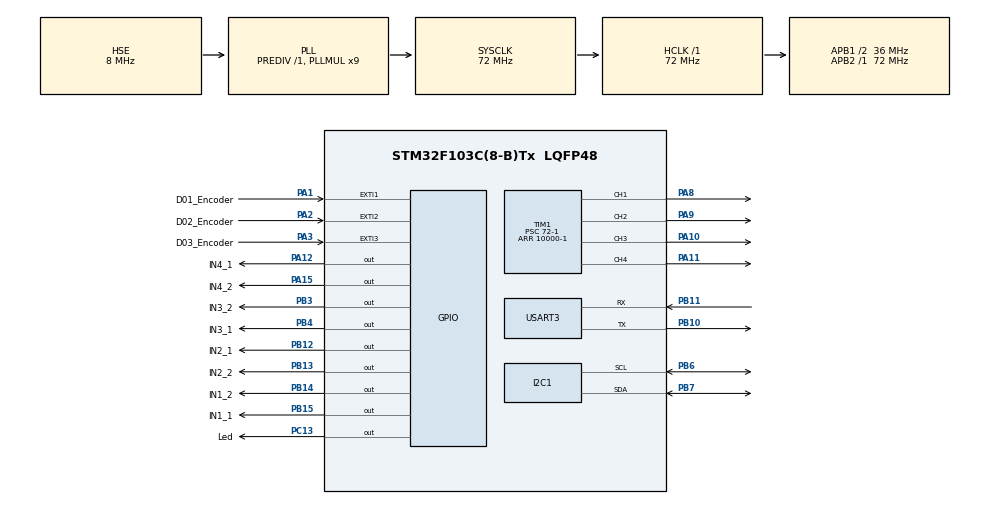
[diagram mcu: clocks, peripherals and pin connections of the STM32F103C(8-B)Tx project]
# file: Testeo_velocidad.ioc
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FREERTOS.BinarySemaphores01=SpeedSemaphore,Dynamic,NULL
FREERTOS.Tasks01=Speed,40,256,StartSpeed,Default,NULL,Dynamic,NULL,NULL;Modbus,40,256,StartModbus,Default,NULL,Dynamic,NULL,NULL;CheckVelocidad,32,256,StartCheckVelocidad,Default,NULL,Dynamic,NULL,NULL;TaskControl,48,256,StartTaskControl,Default,NULL,Dynamic,NULL,NULL
FREERTOS.configLIBRARY_LOWEST_INTERRUPT_PRIORITY=10
FREERTOS.configTOTAL_HEAP_SIZE=6144
FREERTOS.configUSE_NEWLIB_REENTRANT=1
Mcu.Family=STM32F1
Mcu.Name=STM32F103C(8-B)Tx
Mcu.Package=LQFP48
NVIC.EXTI1_IRQn=true\:5\:0\:true\:false\:true\:true\:true\:true
NVIC.EXTI2_IRQn=true\:5\:0\:false\:false\:true\:true\:true\:true
NVIC.I2C1_EV_IRQn=true\:5\:0\:false\:false\:true\:true\:true\:true
NVIC.PriorityGroup=NVIC_PRIORITYGROUP_4
NVIC.TIM2_IRQn=true\:5\:0\:false\:false\:true\:true\:true\:true
NVIC.TIM4_IRQn=true\:15\:0\:false\:false\:true\:false\:false\:true
NVIC.TimeBase=TIM4_IRQn
NVIC.TimeBaseIP=TIM4
NVIC.USART3_IRQn=true\:5\:0\:false\:false\:true\:true\:true\:true
PA1.GPIO_Label=D01_Encoder
PA1.GPIO_PuPd=GPIO_PULLDOWN
PA1.Signal=GPXTI1
PA10.Signal=S_TIM1_CH3
PA11.Signal=S_TIM1_CH4
PA12.GPIO_Label=IN4_1
PA12.Signal=GPIO_Output
PA13.Mode=Serial_Wire
PA13.Signal=SYS_JTMS-SWDIO
PA14.Mode=Serial_Wire
PA14.Signal=SYS_JTCK-SWCLK
PA15.GPIO_Label=IN4_2
PA15.Signal=GPIO_Output
PA2.GPIO_Label=D02_Encoder
PA2.Signal=GPXTI2
PA3.GPIO_Label=D03_Encoder
PA3.Signal=GPXTI3
PA8.Signal=S_TIM1_CH1
PA9.Signal=S_TIM1_CH2
PB10.Mode=Asynchronous
PB10.Signal=USART3_TX
PB11.Mode=Asynchronous
PB11.Signal=USART3_RX
PB12.GPIO_Label=IN2_1
PB12.Signal=GPIO_Output
PB13.GPIO_Label=IN2_2
PB13.Signal=GPIO_Output
PB14.GPIO_Label=IN1_2
PB14.Signal=GPIO_Output
PB15.GPIO_Label=IN1_1
PB15.Signal=GPIO_Output
PB3.GPIO_Label=IN3_2
PB3.Signal=GPIO_Output
PB4.GPIO_Label=IN3_1
PB4.Signal=GPIO_Output
PB6.Mode=I2C
PB6.Signal=I2C1_SCL
PB7.Mode=I2C
PB7.Signal=I2C1_SDA
PC13-TAMPER-RTC.GPIO_Label=Led
PC13-TAMPER-RTC.Signal=GPIO_Output
PD0-OSC_IN.Mode=HSE-External-Oscillator
PD0-OSC_IN.Signal=RCC_OSC_IN
PD1-OSC_OUT.Mode=HSE-External-Oscillator
PD1-OSC_OUT.Signal=RCC_OSC_OUT
ProjectManager.HeapSize=0x200
ProjectManager.StackSize=0x400
ProjectManager.TargetToolchain=STM32CubeIDE
RCC.AHBFreq_Value=72000000
RCC.APB1CLKDivider=RCC_HCLK_DIV2
RCC.APB1Freq_Value=36000000
RCC.APB1TimFreq_Value=72000000
RCC.APB2Freq_Value=72000000
RCC.APB2TimFreq_Value=72000000
RCC.HCLKFreq_Value=72000000
RCC.PLLMUL=RCC_PLL_MUL9
RCC.PLLSourceVirtual=RCC_PLLSOURCE_HSE
RCC.SYSCLKFreq_VALUE=72000000
RCC.SYSCLKSource=RCC_SYSCLKSOURCE_PLLCLK
RCC.USBFreq_Value=72000000
SH.S_TIM1_CH1.0=TIM1_CH1,PWM Generation1 CH1
SH.S_TIM1_CH2.0=TIM1_CH2,PWM Generation2 CH2
SH.S_TIM1_CH3.0=TIM1_CH3,PWM Generation3 CH3
SH.S_TIM1_CH4.0=TIM1_CH4,PWM Generation4 CH4
TIM1.AutoReloadPreload=TIM_AUTORELOAD_PRELOAD_ENABLE
TIM1.Channel-PWM\ Generation1\ CH1=TIM_CHANNEL_1
TIM1.Channel-PWM\ Generation2\ CH2=TIM_CHANNEL_2
TIM1.Channel-PWM\ Generation3\ CH3=TIM_CHANNEL_3
TIM1.Channel-PWM\ Generation4\ CH4=TIM_CHANNEL_4
TIM1.Period=10000-1
TIM1.Prescaler=72-1
TIM2.AutoReloadPreload=TIM_AUTORELOAD_PRELOAD_ENABLE
TIM2.Period=20000-1
TIM2.Prescaler=1440-1
USART3.VirtualMode=VM_ASYNC
VP_FREERTOS_VS_CMSIS_V2.Mode=CMSIS_V2
VP_SYS_VS_tim4.Mode=TIM4
VP_TIM1_VS_ClockSourceINT.Mode=Internal
VP_TIM2_VS_ClockSourceINT.Mode=Internal
board=custom

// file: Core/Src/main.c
/* USER CODE BEGIN Header */
/**
 ******************************************************************************
 * @file           : main.c
 * @brief          : Main program body
 ******************************************************************************
 * @attention
 *
 * Copyright (c) 2022 STMicroelectronics.
 * All rights reserved.
 *
 * This software is licensed under terms that can be found in the LICENSE file
 * in the root directory of this software component.
 * If no LICENSE file comes with this software, it is provided AS-IS.
 *
 ******************************************************************************
 */
/* USER CODE END Header */
#include "main.h"
#include "cmsis_os.h"

/* USER CODE BEGIN Includes */
#include "string.h"
#include "stdio.h"
#include "stdlib.h"

#include "Modbus.h"
#include "ModbusConfig.h"

#include "Linealizacion.c"
#include "Linealizacion.h"

#include "control.c"
#include "control.h"

//#include "INA219.h"
/* USER CODE END Includes */

I2C_HandleTypeDef hi2c1;

TIM_HandleTypeDef htim1;
TIM_HandleTypeDef htim2;

UART_HandleTypeDef huart3;

/* Definitions for Speed */
osThreadId_t SpeedHandle;
const osThreadAttr_t Speed_attributes = {
		.name = "Speed",
		.stack_size = 256 * 4,
		.priority = (osPriority_t) osPriorityHigh,
};
/* Definitions for Modbus */
osThreadId_t ModbusHandle;
const osThreadAttr_t Modbus_attributes = {
		.name = "Modbus",
		.stack_size = 256 * 4,
		.priority = (osPriority_t) osPriorityHigh,
};
/* Definitions for CheckVelocidad */
osThreadId_t CheckVelocidadHandle;
const osThreadAttr_t CheckVelocidad_attributes = {
		.name = "CheckVelocidad",
		.stack_size = 256 * 4,
		.priority = (osPriority_t) osPriorityAboveNormal,
};
/* Definitions for TaskControl */
osThreadId_t TaskControlHandle;
const osThreadAttr_t TaskControl_attributes = {
		.name = "TaskControl",
		.stack_size = 256 * 4,
		.priority = (osPriority_t) osPriorityRealtime,
};
/* Definitions for SpeedSemaphore */
osSemaphoreId_t SpeedSemaphoreHandle;
const osSemaphoreAttr_t SpeedSemaphore_attributes = {
		.name = "SpeedSemaphore"
};
/* USER CODE BEGIN PV */

//INA219_t ina219;

/* USER CODE END PV */

void SystemClock_Config(void);
static void MX_GPIO_Init(void);
static void MX_TIM2_Init(void);
static void MX_TIM1_Init(void);
static void MX_USART3_UART_Init(void);
static void MX_I2C1_Init(void);
void StartSpeed(void *argument);
void StartModbus(void *argument);
void StartCheckVelocidad(void *argument);
void StartTaskControl(void *argument);

/* USER CODE BEGIN 0 */

//---------------->  Modbus
modbusHandler_t ModbusH;
uint16_t ModbusDATA[32]={0,0,0,0,0,0,0,0,0,'\0'}; // Mapa modbus!
//---------------->

float velocidad = 0;
float velocidad_prima1,velocidad_prima2;

uint32_t ticksPrev = 0;
uint32_t ticksNow = 0;
uint32_t ticksAux = 0;
uint32_t deltaTicks = 0;

uint16_t overflow = 0; // Cantidad de desbordes del timer

void HAL_GPIO_EXTI_Callback (uint16_t GPIO_Pin){
	if (GPIO_Pin == D01_Encoder_Pin){
		ticksAux = ticksPrev;
		ticksPrev = ticksNow;
		ticksNow = __HAL_TIM_GetCounter(&htim2);
		osSemaphoreRelease(SpeedSemaphoreHandle);
	}

}
/* USER CODE END 0 */

int main(void)
{

	/* MCU Configuration--------------------------------------------------------*/

	/* Reset of all peripherals, Initializes the Flash interface and the Systick. */
	HAL_Init();

	/* Configure the system clock */
	SystemClock_Config();

	/* Initialize all configured peripherals */
	MX_GPIO_Init();
	MX_TIM2_Init();
	MX_TIM1_Init();
	MX_USART3_UART_Init();
	MX_I2C1_Init();
	/* USER CODE BEGIN 2 */
	HAL_TIM_Base_Start_IT(&htim2);
	Linealizacion_initialize();
	control_initialize();

	// Definiciones para la biblioteca de modbus
	ModbusH.uModbusType = MB_SLAVE;
	ModbusH.port =  &huart3;
	ModbusH.u8id = 1; //Modbus slave ID
	ModbusH.u16timeOut = 1000;
	ModbusH.EN_Port = NULL;
	ModbusH.u16regs = ModbusDATA;
	ModbusH.u16regsize= sizeof(ModbusDATA)/sizeof(ModbusDATA[0]);
	ModbusH.xTypeHW = USART_HW;

	//Initialize Modbus library
	ModbusInit(&ModbusH);
	//Start capturing traffic on serial Port
	ModbusStart(&ModbusH);

	HAL_TIM_PWM_Start(&htim1, TIM_CHANNEL_1);
	HAL_TIM_PWM_Start(&htim1, TIM_CHANNEL_2);
	HAL_TIM_PWM_Start(&htim1, TIM_CHANNEL_3);
	HAL_TIM_PWM_Start(&htim1, TIM_CHANNEL_4);
	//  	HAL_UART_Transmit(&huart3, (uint8_t*)"V\n", 3*sizeof(char), HAL_MAX_DELAY);

	/* USER CODE END 2 */

	/* Init scheduler */
	osKernelInitialize();

	/* Create the semaphores(s) */
	/* creation of SpeedSemaphore */
	SpeedSemaphoreHandle = osSemaphoreNew(1, 1, &SpeedSemaphore_attributes);

	/* Create the thread(s) */
	/* creation of Speed */
	SpeedHandle = osThreadNew(StartSpeed, NULL, &Speed_attributes);

	/* creation of Modbus */
	ModbusHandle = osThreadNew(StartModbus, NULL, &Modbus_attributes);

	/* creation of CheckVelocidad */
	CheckVelocidadHandle = osThreadNew(StartCheckVelocidad, NULL, &CheckVelocidad_attributes);

	/* creation of TaskControl */
	TaskControlHandle = osThreadNew(StartTaskControl, NULL, &TaskControl_attributes);

	/* Start scheduler */
	osKernelStart();

	/* We should never get here as control is now taken by the scheduler */
	/* Infinite loop */
	while (1)
	{

	}
}

void SystemClock_Config(void)
{
	RCC_OscInitTypeDef RCC_OscInitStruct = {0};
	RCC_ClkInitTypeDef RCC_ClkInitStruct = {0};

	/** Initializes the RCC Oscillators according to the specified parameters
	 * in the RCC_OscInitTypeDef structure.
	 */
	RCC_OscInitStruct.OscillatorType = RCC_OSCILLATORTYPE_HSE;
	RCC_OscInitStruct.HSEState = RCC_HSE_ON;
	RCC_OscInitStruct.HSEPredivValue = RCC_HSE_PREDIV_DIV1;
	RCC_OscInitStruct.HSIState = RCC_HSI_ON;
	RCC_OscInitStruct.PLL.PLLState = RCC_PLL_ON;
	RCC_OscInitStruct.PLL.PLLSource = RCC_PLLSOURCE_HSE;
	RCC_OscInitStruct.PLL.PLLMUL = RCC_PLL_MUL9;
	if (HAL_RCC_OscConfig(&RCC_OscInitStruct) != HAL_OK)
	{
		Error_Handler();
	}
	/** Initializes the CPU, AHB and APB buses clocks
	 */
	RCC_ClkInitStruct.ClockType = RCC_CLOCKTYPE_HCLK|RCC_CLOCKTYPE_SYSCLK
			|RCC_CLOCKTYPE_PCLK1|RCC_CLOCKTYPE_PCLK2;
	RCC_ClkInitStruct.SYSCLKSource = RCC_SYSCLKSOURCE_PLLCLK;
	RCC_ClkInitStruct.AHBCLKDivider = RCC_SYSCLK_DIV1;
	RCC_ClkInitStruct.APB1CLKDivider = RCC_HCLK_DIV2;
	RCC_ClkInitStruct.APB2CLKDivider = RCC_HCLK_DIV1;

	if (HAL_RCC_ClockConfig(&RCC_ClkInitStruct, FLASH_LATENCY_2) != HAL_OK)
	{
		Error_Handler();
	}
}

static void MX_I2C1_Init(void)
{

	hi2c1.Instance = I2C1;
	hi2c1.Init.ClockSpeed = 100000;
	hi2c1.Init.DutyCycle = I2C_DUTYCYCLE_2;
	hi2c1.Init.OwnAddress1 = 0;
	hi2c1.Init.AddressingMode = I2C_ADDRESSINGMODE_7BIT;
	hi2c1.Init.DualAddressMode = I2C_DUALADDRESS_DISABLE;
	hi2c1.Init.OwnAddress2 = 0;
	hi2c1.Init.GeneralCallMode = I2C_GENERALCALL_DISABLE;
	hi2c1.Init.NoStretchMode = I2C_NOSTRETCH_DISABLE;
	if (HAL_I2C_Init(&hi2c1) != HAL_OK)
	{
		Error_Handler();
	}

}

static void MX_TIM1_Init(void)
{

	TIM_ClockConfigTypeDef sClockSourceConfig = {0};
	TIM_MasterConfigTypeDef sMasterConfig = {0};
	TIM_OC_InitTypeDef sConfigOC = {0};
	TIM_BreakDeadTimeConfigTypeDef sBreakDeadTimeConfig = {0};

	htim1.Instance = TIM1;
	htim1.Init.Prescaler = 72-1;
	htim1.Init.CounterMode = TIM_COUNTERMODE_UP;
	htim1.Init.Period = 10000-1;
	htim1.Init.ClockDivision = TIM_CLOCKDIVISION_DIV1;
	htim1.Init.RepetitionCounter = 0;
	htim1.Init.AutoReloadPreload = TIM_AUTORELOAD_PRELOAD_ENABLE;
	if (HAL_TIM_Base_Init(&htim1) != HAL_OK)
	{
		Error_Handler();
	}
	sClockSourceConfig.ClockSource = TIM_CLOCKSOURCE_INTERNAL;
	if (HAL_TIM_ConfigClockSource(&htim1, &sClockSourceConfig) != HAL_OK)
	{
		Error_Handler();
	}
	if (HAL_TIM_PWM_Init(&htim1) != HAL_OK)
	{
		Error_Handler();
	}
	sMasterConfig.MasterOutputTrigger = TIM_TRGO_RESET;
	sMasterConfig.MasterSlaveMode = TIM_MASTERSLAVEMODE_DISABLE;
	if (HAL_TIMEx_MasterConfigSynchronization(&htim1, &sMasterConfig) != HAL_OK)
	{
		Error_Handler();
	}
	sConfigOC.OCMode = TIM_OCMODE_PWM1;
	sConfigOC.Pulse = 0;
	sConfigOC.OCPolarity = TIM_OCPOLARITY_HIGH;
	sConfigOC.OCNPolarity = TIM_OCNPOLARITY_HIGH;
	sConfigOC.OCFastMode = TIM_OCFAST_DISABLE;
	sConfigOC.OCIdleState = TIM_OCIDLESTATE_RESET;
	sConfigOC.OCNIdleState = TIM_OCNIDLESTATE_RESET;
	if (HAL_TIM_PWM_ConfigChannel(&htim1, &sConfigOC, TIM_CHANNEL_1) != HAL_OK)
	{
		Error_Handler();
	}
	if (HAL_TIM_PWM_ConfigChannel(&htim1, &sConfigOC, TIM_CHANNEL_2) != HAL_OK)
	{
		Error_Handler();
	}
	if (HAL_TIM_PWM_ConfigChannel(&htim1, &sConfigOC, TIM_CHANNEL_3) != HAL_OK)
	{
		Error_Handler();
	}
	if (HAL_TIM_PWM_ConfigChannel(&htim1, &sConfigOC, TIM_CHANNEL_4) != HAL_OK)
	{
		Error_Handler();
	}
	sBreakDeadTimeConfig.OffStateRunMode = TIM_OSSR_DISABLE;
	sBreakDeadTimeConfig.OffStateIDLEMode = TIM_OSSI_DISABLE;
	sBreakDeadTimeConfig.LockLevel = TIM_LOCKLEVEL_OFF;
	sBreakDeadTimeConfig.DeadTime = 0;
	sBreakDeadTimeConfig.BreakState = TIM_BREAK_DISABLE;
	sBreakDeadTimeConfig.BreakPolarity = TIM_BREAKPOLARITY_HIGH;
	sBreakDeadTimeConfig.AutomaticOutput = TIM_AUTOMATICOUTPUT_DISABLE;
	if (HAL_TIMEx_ConfigBreakDeadTime(&htim1, &sBreakDeadTimeConfig) != HAL_OK)
	{
		Error_Handler();
	}
	HAL_TIM_MspPostInit(&htim1);

}

static void MX_TIM2_Init(void)
{

	TIM_ClockConfigTypeDef sClockSourceConfig = {0};
	TIM_MasterConfigTypeDef sMasterConfig = {0};

	htim2.Instance = TIM2;
	htim2.Init.Prescaler = 1440-1;
	htim2.Init.CounterMode = TIM_COUNTERMODE_UP;
	htim2.Init.Period = 20000-1;
	htim2.Init.ClockDivision = TIM_CLOCKDIVISION_DIV1;
	htim2.Init.AutoReloadPreload = TIM_AUTORELOAD_PRELOAD_ENABLE;
	if (HAL_TIM_Base_Init(&htim2) != HAL_OK)
	{
		Error_Handler();
	}
	sClockSourceConfig.ClockSource = TIM_CLOCKSOURCE_INTERNAL;
	if (HAL_TIM_ConfigClockSource(&htim2, &sClockSourceConfig) != HAL_OK)
	{
		Error_Handler();
	}
	sMasterConfig.MasterOutputTrigger = TIM_TRGO_RESET;
	sMasterConfig.MasterSlaveMode = TIM_MASTERSLAVEMODE_DISABLE;
	if (HAL_TIMEx_MasterConfigSynchronization(&htim2, &sMasterConfig) != HAL_OK)
	{
		Error_Handler();
	}

}

static void MX_USART3_UART_Init(void)
{

	huart3.Instance = USART3;
	huart3.Init.BaudRate = 115200;
	huart3.Init.WordLength = UART_WORDLENGTH_8B;
	huart3.Init.StopBits = UART_STOPBITS_1;
	huart3.Init.Parity = UART_PARITY_NONE;
	huart3.Init.Mode = UART_MODE_TX_RX;
	huart3.Init.HwFlowCtl = UART_HWCONTROL_NONE;
	huart3.Init.OverSampling = UART_OVERSAMPLING_16;
	if (HAL_UART_Init(&huart3) != HAL_OK)
	{
		Error_Handler();
	}

}

static void MX_GPIO_Init(void)
{
	GPIO_InitTypeDef GPIO_InitStruct = {0};

	/* GPIO Ports Clock Enable */
	__HAL_RCC_GPIOC_CLK_ENABLE();
	__HAL_RCC_GPIOD_CLK_ENABLE();
	__HAL_RCC_GPIOA_CLK_ENABLE();
	__HAL_RCC_GPIOB_CLK_ENABLE();

	/*Configure GPIO pin Output Level */
	HAL_GPIO_WritePin(Led_GPIO_Port, Led_Pin, GPIO_PIN_RESET);

	/*Configure GPIO pin Output Level */
	HAL_GPIO_WritePin(GPIOB, IN2_1_Pin|IN2_2_Pin|IN1_2_Pin|IN1_1_Pin
			|IN3_2_Pin|IN3_1_Pin, GPIO_PIN_RESET);

	/*Configure GPIO pin Output Level */
	HAL_GPIO_WritePin(GPIOA, IN4_1_Pin|IN4_2_Pin, GPIO_PIN_RESET);

	/*Configure GPIO pin : Led_Pin */
	GPIO_InitStruct.Pin = Led_Pin;
	GPIO_InitStruct.Mode = GPIO_MODE_OUTPUT_PP;
	GPIO_InitStruct.Pull = GPIO_NOPULL;
	GPIO_InitStruct.Speed = GPIO_SPEED_FREQ_LOW;
	HAL_GPIO_Init(Led_GPIO_Port, &GPIO_InitStruct);

	/*Configure GPIO pin : D01_Encoder_Pin */
	GPIO_InitStruct.Pin = D01_Encoder_Pin;
	GPIO_InitStruct.Mode = GPIO_MODE_IT_RISING;
	GPIO_InitStruct.Pull = GPIO_PULLDOWN;
	HAL_GPIO_Init(D01_Encoder_GPIO_Port, &GPIO_InitStruct);

	/*Configure GPIO pins : D02_Encoder_Pin D03_Encoder_Pin */
	GPIO_InitStruct.Pin = D02_Encoder_Pin|D03_Encoder_Pin;
	GPIO_InitStruct.Mode = GPIO_MODE_IT_RISING;
	GPIO_InitStruct.Pull = GPIO_NOPULL;
	HAL_GPIO_Init(GPIOA, &GPIO_InitStruct);

	/*Configure GPIO pins : IN2_1_Pin IN2_2_Pin IN1_2_Pin IN1_1_Pin
                           IN3_2_Pin IN3_1_Pin */
	GPIO_InitStruct.Pin = IN2_1_Pin|IN2_2_Pin|IN1_2_Pin|IN1_1_Pin
			|IN3_2_Pin|IN3_1_Pin;
	GPIO_InitStruct.Mode = GPIO_MODE_OUTPUT_PP;
	GPIO_InitStruct.Pull = GPIO_NOPULL;
	GPIO_InitStruct.Speed = GPIO_SPEED_FREQ_LOW;
	HAL_GPIO_Init(GPIOB, &GPIO_InitStruct);

	/*Configure GPIO pins : IN4_1_Pin IN4_2_Pin */
	GPIO_InitStruct.Pin = IN4_1_Pin|IN4_2_Pin;
	GPIO_InitStruct.Mode = GPIO_MODE_OUTPUT_PP;
	GPIO_InitStruct.Pull = GPIO_NOPULL;
	GPIO_InitStruct.Speed = GPIO_SPEED_FREQ_LOW;
	HAL_GPIO_Init(GPIOA, &GPIO_InitStruct);

	/* EXTI interrupt init*/
	HAL_NVIC_SetPriority(EXTI1_IRQn, 5, 0);
	HAL_NVIC_EnableIRQ(EXTI1_IRQn);

	HAL_NVIC_SetPriority(EXTI2_IRQn, 5, 0);
	HAL_NVIC_EnableIRQ(EXTI2_IRQn);

}

void StartSpeed(void *argument)
{
	/* USER CODE BEGIN 5 */

	uint32_t ranuras = 50;
	uint32_t cantTicksTmr2 = 20000;
	uint64_t fsTmr2= 50000;
	uint64_t tickFilter = 600; // Parametro delicado, puede hacer cagadas en la medicion de la velocidad, OJO

	uint32_t ticksPrev_l = 0;
	uint32_t ticksNow_l = 0;
	uint32_t ticksAux_l = 0;
	uint32_t deltaTicks_l = 0;
	uint16_t overflow_l =0;
	float velocidad_prima2_l = 0;
	float velocidad_prima1_l = 0;
	float velocidad_l = 0;
	/* Infinite loop */
	for(;;)
	{
		osSemaphoreAcquire(SpeedSemaphoreHandle, osWaitForever);
		taskENTER_CRITICAL();

		ticksPrev_l = ticksPrev;
		ticksNow_l = ticksNow;
		ticksAux_l = ticksAux;
		overflow_l = overflow;
		velocidad_l = velocidad;
		velocidad_prima1_l = velocidad_prima1;
		velocidad_prima2_l = velocidad_prima2;

		taskEXIT_CRITICAL();

		//		HAL_NVIC_EnableIRQ(EXTI1_IRQn);

		if (overflow_l == 0){
			// Todo cool, calculo normal
			deltaTicks_l = ticksNow_l - ticksPrev_l;
			if (deltaTicks_l > tickFilter){
				velocidad_l = ((1/(float)ranuras)/((float)deltaTicks_l/(float)fsTmr2));
				//Filtro IIR
				velocidad_prima2_l = velocidad_prima1_l;
				velocidad_prima1_l = 0.85*velocidad_prima2_l + 0.15*velocidad_l;

				taskENTER_CRITICAL();
				deltaTicks = deltaTicks_l;
				velocidad = velocidad_l;
				velocidad_prima1 = velocidad_prima1_l;
				velocidad_prima2 = velocidad_prima2_l;
				taskEXIT_CRITICAL();
			}
			else{
				taskENTER_CRITICAL();
				ticksNow = ticksPrev_l;
				ticksPrev = ticksAux_l;
				taskEXIT_CRITICAL();
			}
		} else{
			// Tuve algun desborde y tengo que tenerlo en cuenta
			deltaTicks_l = (ticksNow_l + overflow_l * cantTicksTmr2)- ticksPrev_l;/////////////////////////////////////////
			if (deltaTicks_l > tickFilter){
				velocidad_l = ((1/(float)ranuras)/((float)deltaTicks_l/(float)fsTmr2));
				//Filtro IIR
				velocidad_prima2_l = velocidad_prima1_l;
				velocidad_prima1_l = 0.85*velocidad_prima2_l + 0.15*velocidad_l;

				taskENTER_CRITICAL();
				overflow = 0;
				deltaTicks = deltaTicks_l;
				velocidad = velocidad_l;
				velocidad_prima1 = velocidad_prima1_l;
				velocidad_prima2 = velocidad_prima2_l;
				taskEXIT_CRITICAL();
			}
			else{
				taskENTER_CRITICAL();
				ticksNow = ticksPrev_l;
				ticksPrev = ticksAux_l;
				taskEXIT_CRITICAL();
			}
		}
		osDelay(1);
	}
	/* USER CODE END 5 */
}

void StartModbus(void *argument)
{
	/* USER CODE BEGIN StartModbus */
	uint16_t delta[2];// para mandar los deltaticks
	uint16_t delta1[2];
	uint16_t deltaticks[2];
//	uint16_t delta2[2];
//	uint16_t delta3[2];

	float velocidad_l = 0;
	float velocidad_prima1_l = 0;
	uint32_t deltaTicks_l = 0;

	uint16_t ModbusDATA_l[32] = {'\0'};
	/* Infinite loop */
	for(;;)
	{
		//HAL_GPIO_TogglePin(Led_GPIO_Port, Led_Pin);
		taskENTER_CRITICAL();
		deltaTicks_l = deltaTicks;
		velocidad_l = velocidad;
		velocidad_prima1_l = velocidad_prima1;
		ModbusDATA_l[0] = ModbusDATA[0];
		taskEXIT_CRITICAL();

		HAL_GPIO_WritePin(IN1_1_GPIO_Port, IN1_1_Pin, GPIO_PIN_SET);
		HAL_GPIO_WritePin(IN2_1_GPIO_Port, IN2_1_Pin, GPIO_PIN_SET);
		HAL_GPIO_WritePin(IN3_1_GPIO_Port, IN3_1_Pin, GPIO_PIN_SET);
		HAL_GPIO_WritePin(IN4_1_GPIO_Port, IN4_1_Pin, GPIO_PIN_SET);

		memcpy(deltaticks, &deltaTicks_l, sizeof(deltaTicks_l));
		ModbusDATA_l[1]=deltaticks[0];
		ModbusDATA_l[2]=deltaticks[1];

		memcpy(delta, &velocidad_l, sizeof(velocidad_l));
		ModbusDATA_l[3]=delta[0];
		ModbusDATA_l[4]=delta[1];

		memcpy(delta1, &velocidad_prima1_l, sizeof(velocidad_prima1_l));
		ModbusDATA_l[5]=delta1[0];
		ModbusDATA_l[6]=delta1[1];

//		memcpy(delta2, &rtSalida_Linealizacion, sizeof(rtSalida_Linealizacion));
//		ModbusDATA_l[7]=delta2[0];
//		ModbusDATA_l[8]=delta2[1];
//
//
//		memcpy(delta3, &rtEntrada_Control, sizeof(rtEntrada_Control));
//		ModbusDATA_l[9]=delta3[0];
//		ModbusDATA_l[10]=delta3[1];

		taskENTER_CRITICAL();
		ModbusDATA[0] = ModbusDATA_l[0];
		ModbusDATA[1] = ModbusDATA_l[1];
		ModbusDATA[2] = ModbusDATA_l[2];
		ModbusDATA[3] = ModbusDATA_l[3];
		ModbusDATA[4] = ModbusDATA_l[4];
		ModbusDATA[5] = ModbusDATA_l[5];
		ModbusDATA[6] = ModbusDATA_l[6];
//		ModbusDATA[7] = ModbusDATA_l[7];
//		ModbusDATA[8] = ModbusDATA_l[8];
//		ModbusDATA[9] = ModbusDATA_l[9];
//		ModbusDATA[10] = ModbusDATA_l[10];

		taskEXIT_CRITICAL();

		osDelay(10);
	}
	/* USER CODE END StartModbus */
}

void StartCheckVelocidad(void *argument)
{
	/* USER CODE BEGIN StartCheckVelocidad */

	uint16_t overflow_l =0;

	///////////////////////////

//	uint16_t rawCurrent = 0;
//	float current = 0;
//	while(!INA219_Init(&ina219, &hi2c1, INA219_ADDRESS));
//	uint16_t delta[2];

	////////////////////////////////////

	/* Infinite loop */
	for(;;)
	{
		taskENTER_CRITICAL();
		overflow_l = overflow;
		taskEXIT_CRITICAL();

		if(overflow_l >= 30){
			overflow_l = 0;
			taskENTER_CRITICAL();
			overflow = 0;
			velocidad_prima2 = 0;
			velocidad_prima1 = 0;
			velocidad = 0;
			taskEXIT_CRITICAL();

			/////////////////////////////////////////////
//			rawCurrent = INA219_ReadCurrent_raw(&ina219); // mA?
//			if(rawCurrent > 32767){
//				//hago complemento a 2
//				uint16_t complementCurrent = (0xFFFF - rawCurrent)+1;
//				current = - complementCurrent / 10.0;

//			} else {
//				current = rawCurrent/10.0; // mA
//			}

//			memcpy(delta, &current, sizeof(current));
//			ModbusDATA[13]=delta[0];
//			ModbusDATA[14]=delta[1];
			//////////////////////////////////////////////
		}
		osDelay(5);
	}
	/* USER CODE END StartCheckVelocidad */
}

void StartTaskControl(void *argument)
{
	/* USER CODE BEGIN StartTaskControl */
//	float velocidad_l=0;
	float Setpoint = 0;

	/* Infinite loop */
	for(;;)
	{
		taskENTER_CRITICAL();
//		velocidad_l = velocidad;
//		Setpoint = ModbusDATA[0]/1000.0;
		Setpoint = ModbusDATA[0];
		taskEXIT_CRITICAL();

//		rtEntrada_Control = Setpoint - velocidad_l; //Error para PID
//		control_step(); //Ejecutamos control
//
//		rtEntrada_Linealizacion = rtSalida_Control;	//Salida PID asignada a entrada de planta linealizadora
//		Linealizacion_step();	//Ejecutamos planta linealizadora

//		htim1.Instance->CCR2 = (uint32_t)rtSalida_Linealizacion;	//Salida linealizada asignada a CCR
//		htim1.Instance->CCR2 = (uint32_t)Setpoint;
//		htim1.Instance->CCR1 = (uint32_t)Setpoint;

		//		Codigo para validar control
		//		taskENTER_CRITICAL();
		//		Setpoint = ModbusDATA[0]/1000.0;
		//		taskEXIT_CRITICAL();
		//
		//		rtEntrada_Control = Setpoint - velocidad_l; //Error para PID
		//		control_step(); //Ejecutamos control
		//
		//		htim1.Instance->CCR2 = rtSalida_Control;	//Salida PID asignada a entrada de planta linealizadora

		//		Codigo para validar linealización
		//		taskENTER_CRITICAL();
		//		Setpoint = ModbusDATA[0]/1000.0; // Setpoint de velocidad (vueltas/seg*1000)
		//		taskEXIT_CRITICAL();
		//
		//		rtEntrada_Linealizacion = Setpoint;
		//		Linealizacion_step();
		//		htim1.Instance->CCR2 = rtSalida_Linealizacion;

		//		taskENTER_CRITICAL();
		//		Setpoint = ModbusDATA[0]; // Setpoint de velocidad (vueltas/seg*1000)
		//		taskEXIT_CRITICAL();
		//
		if (htim1.Instance->CCR1 != Setpoint){
				htim1.Instance->CCR1 = Setpoint;
		}
		osDelay(5);

	}

	/* USER CODE END StartTaskControl */
}

void HAL_TIM_PeriodElapsedCallback(TIM_HandleTypeDef *htim)
{
	if (htim->Instance == TIM4) {
		HAL_IncTick();
	}
	/* USER CODE BEGIN Callback 1 */
	if(htim->Instance == TIM2){
		overflow += 1;

	}
	/* USER CODE END Callback 1 */
}

void Error_Handler(void)
{
	__disable_irq();
	while (1)
	{
	}
}
